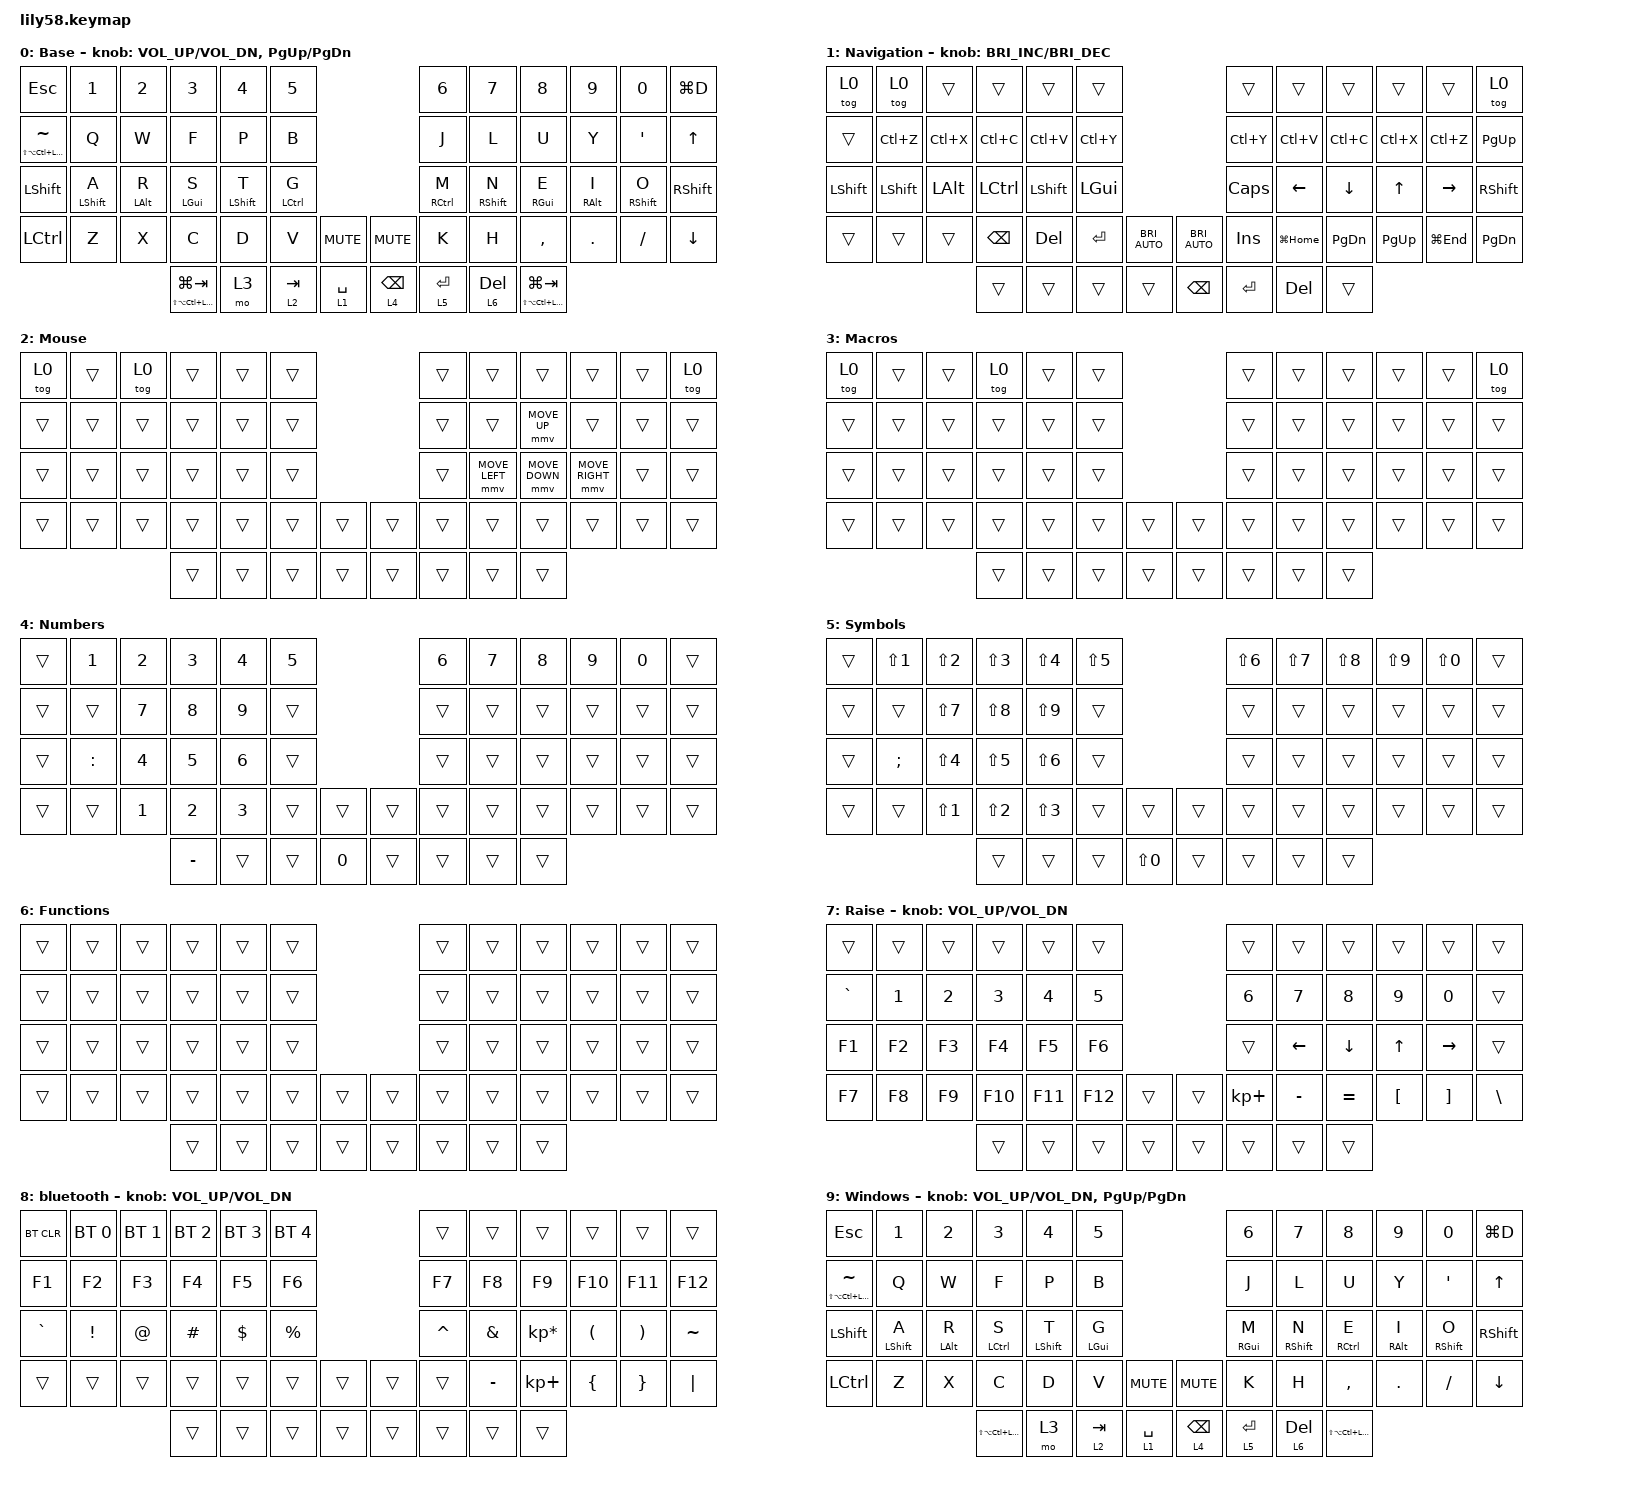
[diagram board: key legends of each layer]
/*
 * Copyright (c) 2020 The ZMK Contributors
 *
 * SPDX-License-Identifier: MIT
 */

#include <behaviors.dtsi>
#include <dt-bindings/zmk/bt.h>
#include <dt-bindings/zmk/keys.h>
#include <dt-bindings/zmk/pointing.h>

/ {
    behaviors {
        hrm: hrm {
            compatible = "zmk,behavior-hold-tap";
            label = "HRM";
            bindings = <&kp>, <&kp>;

            #binding-cells = <2>;
            flavor = "tap-preferred";
            tapping-term-ms = <270>;
            require-prior-idle-ms = <200>;
            quick-tap-ms = <0>;
            hold-trigger-on-release;
        };
    };

    keymap {
        compatible = "zmk,keymap";

        default_layer {
            // ------------------------------------------------------------------------------------------------------------
            // |  ESC  |  1  |  2  |  3   |  4   |  5   |                   |  6   |  7    |  8    |  9   |   0   |   `   |
            // |  TAB  |  Q  |  W  |  E   |  R   |  T   |                   |  Y   |  U    |  I    |  O   |   P   |   -   |
            // |  CTRL |  A  |  S  |  D   |  F   |  G   |                   |  H   |  J    |  K    |  L   |   ;   |   '   |
            // | SHIFT |  Z  |  X  |  C   |  V   |  B   |   "["  |  |  "]"  |  N   |  M    |  ,    |  .   |   /   | SHIFT |
            //                     | ALT  | GUI  | LOWER|  SPACE |  | ENTER | RAISE| BSPC  | GUI   |

            display-name = "Base";
            bindings = <
&kp ESC                         &kp N1        &kp N2       &kp N3                            &kp N4         &kp N5                                        &kp N6        &kp N7         &kp N8                            &kp N9       &kp N0        &kp LG(D)
&mt LS(LA(LC(LEFT_GUI))) TILDE  &kp Q         &kp W        &kp F                             &kp P          &kp B                                         &kp J         &kp L          &kp U                             &kp Y        &kp SQT       &kp UP
&kp LSHFT                       &hrm LSHFT A  &hrm LALT R  &hrm LGUI S                       &hrm LSHIFT T  &hrm LCTRL G                                  &hrm RCTRL M  &hrm RSHIFT N  &hrm RGUI E                       &hrm RALT I  &hrm RSHFT O  &kp RSHFT
&kp LCTRL                       &kp Z         &kp X        &kp C                             &kp D          &kp V         &kp C_MUTE     &kp C_MUTE       &kp K         &kp H          &kp COMMA                         &kp DOT      &kp FSLH      &kp DOWN
                                                           &mt LS(LA(LC(LEFT_GUI))) LG(TAB)  &mo 3          &lt 2 TAB     &lt 1 SPACE    &lt 4 BACKSPACE  &lt 5 ENTER   &lt 6 DELETE   &mt LS(LA(LC(LEFT_GUI))) LG(TAB)
            >;

            // sensor-bindings = <&inc_dec_kp C_VOL_UP C_VOL_DN>;

            sensor-bindings =
                <&inc_dec_kp C_VOL_UP C_VOL_DN>,
                <&inc_dec_kp PG_UP PG_DN>;
        };

        nav_layer {
            bindings = <
&tog 0     &tog 0     &trans     &trans     &trans     &trans                                                     &trans      &trans        &trans         &trans       &trans       &tog 0
&trans     &kp LC(Z)  &kp LC(X)  &kp LC(C)  &kp LC(V)  &kp LC(Y)                                                  &kp LC(Y)   &kp LC(V)     &kp LC(C)      &kp LC(X)    &kp LC(Z)    &kp PAGE_UP
&kp LSHFT  &kp LSHFT  &kp LALT   &kp LCTRL  &kp LSHFT  &kp LGUI                                                   &kp CAPS    &kp LEFT      &kp DOWN       &kp UP       &kp RIGHT    &kp RSHIFT
&trans     &trans     &trans     &kp BSPC   &kp DEL    &kp RET    &kp C_BRIGHTNESS_AUTO    &kp C_BRIGHTNESS_AUTO  &kp INSERT  &kp LG(HOME)  &kp PAGE_DOWN  &kp PAGE_UP  &kp LG(END)  &kp PAGE_DOWN
                                 &trans     &trans     &trans     &trans                   &kp BSPC               &kp RET     &kp DEL       &trans
            >;

            sensor-bindings = <&inc_dec_kp C_BRIGHTNESS_INC C_BRIGHTNESS_DEC>;
            label = "Navigation";
        };

        mouse_layer {
            bindings = <
&tog 0  &trans  &tog 0  &trans  &trans  &trans                    &trans  &trans          &trans          &trans           &trans  &tog 0
&trans  &trans  &trans  &trans  &trans  &trans                    &trans  &trans          &mmv MOVE_UP    &trans           &trans  &trans
&trans  &trans  &trans  &trans  &trans  &trans                    &trans  &mmv MOVE_LEFT  &mmv MOVE_DOWN  &mmv MOVE_RIGHT  &trans  &trans
&trans  &trans  &trans  &trans  &trans  &trans  &trans    &trans  &trans  &trans          &trans          &trans           &trans  &trans
                        &trans  &trans  &trans  &trans    &trans  &trans  &trans          &trans
            >;

            label = "Mouse";
        };

        macro_layer {
            bindings = <
&tog 0  &trans  &trans  &tog 0  &trans  &trans                    &trans  &trans  &trans  &trans  &trans  &tog 0
&trans  &trans  &trans  &trans  &trans  &trans                    &trans  &trans  &trans  &trans  &trans  &trans
&trans  &trans  &trans  &trans  &trans  &trans                    &trans  &trans  &trans  &trans  &trans  &trans
&trans  &trans  &trans  &trans  &trans  &trans  &trans    &trans  &trans  &trans  &trans  &trans  &trans  &trans
                        &trans  &trans  &trans  &trans    &trans  &trans  &trans  &trans
            >;

            label = "Macros";
        };

        num_layer {
            bindings = <
&trans  &kp N1     &kp N2  &kp N3     &kp N4  &kp N5                    &kp N6  &kp N7  &kp N8  &kp N9  &kp N0  &trans
&trans  &trans     &kp N7  &kp N8     &kp N9  &trans                    &trans  &trans  &trans  &trans  &trans  &trans
&trans  &kp COLON  &kp N4  &kp N5     &kp N6  &trans                    &trans  &trans  &trans  &trans  &trans  &trans
&trans  &trans     &kp N1  &kp N2     &kp N3  &trans  &trans    &trans  &trans  &trans  &trans  &trans  &trans  &trans
                           &kp MINUS  &trans  &trans  &kp N0    &trans  &trans  &trans  &trans
            >;

            label = "Numbers";
        };

        sym_layer {
            bindings = <
&trans  &kp LS(N1)  &kp LS(N2)  &kp LS(N3)  &kp LS(N4)  &kp LS(N5)                        &kp LS(N6)  &kp LS(N7)  &kp LS(N8)  &kp LS(N9)  &kp LS(N0)  &trans
&trans  &trans      &kp LS(N7)  &kp LS(N8)  &kp LS(N9)  &trans                            &trans      &trans      &trans      &trans      &trans      &trans
&trans  &kp SEMI    &kp LS(N4)  &kp LS(N5)  &kp LS(N6)  &trans                            &trans      &trans      &trans      &trans      &trans      &trans
&trans  &trans      &kp LS(N1)  &kp LS(N2)  &kp LS(N3)  &trans      &trans        &trans  &trans      &trans      &trans      &trans      &trans      &trans
                                &trans      &trans      &trans      &kp LS(N0)    &trans  &trans      &trans      &trans
            >;

            label = "Symbols";
        };

        fun_layer {
            bindings = <
&trans  &trans  &trans  &trans  &trans  &trans                    &trans  &trans  &trans  &trans  &trans  &trans
&trans  &trans  &trans  &trans  &trans  &trans                    &trans  &trans  &trans  &trans  &trans  &trans
&trans  &trans  &trans  &trans  &trans  &trans                    &trans  &trans  &trans  &trans  &trans  &trans
&trans  &trans  &trans  &trans  &trans  &trans  &trans    &trans  &trans  &trans  &trans  &trans  &trans  &trans
                        &trans  &trans  &trans  &trans    &trans  &trans  &trans  &trans
            >;

            label = "Functions";
        };

        raise_layer {
            // ------------------------------------------------------------------------------------------------------------
            // |       |     |     |      |      |      |                   |      |       |       |      |       |       |
            // |   `   |  1  |  2  |  3   |  4   |  5   |                   |  6   |   7   |   8   |  9   |   0   |       |
            // |   F1  |  F2 |  F3 |  F4  |  F5  |  F6  |                   |      |   <-  |   v   |  ^   |  ->   |       |
            // |   F7  |  F8 |  F9 |  F10 |  F11 |  F12 |        |  |       |  +   |   -   |   =   |  [   |   ]   |   \   |
            //                     |      |      |      |        |  |       |      |       |       |

            display-name = "Raise";
            bindings = <
&trans     &trans  &trans  &trans   &trans   &trans                     &trans       &trans     &trans     &trans    &trans     &trans
&kp GRAVE  &kp N1  &kp N2  &kp N3   &kp N4   &kp N5                     &kp N6       &kp N7     &kp N8     &kp N9    &kp N0     &trans
&kp F1     &kp F2  &kp F3  &kp F4   &kp F5   &kp F6                     &trans       &kp LEFT   &kp DOWN   &kp UP    &kp RIGHT  &trans
&kp F7     &kp F8  &kp F9  &kp F10  &kp F11  &kp F12  &trans    &trans  &kp KP_PLUS  &kp MINUS  &kp EQUAL  &kp LBKT  &kp RBKT   &kp BSLH
                           &trans   &trans   &trans   &trans    &trans  &trans       &trans     &trans
            >;

            sensor-bindings = <&inc_dec_kp C_VOL_UP C_VOL_DN>;
        };

        bt_layer {
            // ------------------------------------------------------------------------------------------------------------
            // | BTCLR | BT1 | BT2 |  BT3 |  BT4 |  BT5 |                   |      |       |       |      |       |       |
            // |  F1   |  F2 |  F3 |  F4  |  F5  |  F6  |                   |  F7  |  F8   |  F9   |  F10 |  F11  |  F12  |
            // |   `   |  !  |  @  |  #   |  $   |  %   |                   |  ^   |  &    |  *    |  (   |   )   |   ~   |
            // |       |     |     |      |      |      |        |  |       |      |  _    |  +    |  {   |   }   |  "|"  |
            //                     |      |      |      |        |  |       |      |       |       |

            display-name = "bluetooth";
            bindings = <
&bt BT_CLR  &bt BT_SEL 0  &bt BT_SEL 1  &bt BT_SEL 2  &bt BT_SEL 3  &bt BT_SEL 4                    &trans     &trans     &trans           &trans    &trans    &trans
&kp F1      &kp F2        &kp F3        &kp F4        &kp F5        &kp F6                          &kp F7     &kp F8     &kp F9           &kp F10   &kp F11   &kp F12
&kp GRAVE   &kp EXCL      &kp AT        &kp HASH      &kp DOLLAR    &kp PRCNT                       &kp CARET  &kp AMPS   &kp KP_MULTIPLY  &kp LPAR  &kp RPAR  &kp TILDE
&trans      &trans        &trans        &trans        &trans        &trans        &trans    &trans  &trans     &kp MINUS  &kp KP_PLUS      &kp LBRC  &kp RBRC  &kp PIPE
                                        &trans        &trans        &trans        &trans    &trans  &trans     &trans     &trans
            >;

            sensor-bindings = <&inc_dec_kp C_VOL_UP C_VOL_DN>;
        };

        windows_layer {
            display-name = "Windows";
            bindings = <
&kp ESC                         &kp N1        &kp N2       &kp N3                    &kp N4         &kp N5                                       &kp N6       &kp N7         &kp N8                    &kp N9       &kp N0        &kp LG(D)
&mt LS(LA(LC(LEFT_GUI))) TILDE  &kp Q         &kp W        &kp F                     &kp P          &kp B                                        &kp J        &kp L          &kp U                     &kp Y        &kp SQT       &kp UP
&kp LSHFT                       &hrm LSHFT A  &hrm LALT R  &hrm LCTRL S              &hrm LSHIFT T  &hrm LGUI G                                  &hrm RGUI M  &hrm RSHIFT N  &hrm RCTRL E              &hrm RALT I  &hrm RSHFT O  &kp RSHFT
&kp LCTRL                       &kp Z         &kp X        &kp C                     &kp D          &kp V        &kp C_MUTE     &kp C_MUTE       &kp K        &kp H          &kp COMMA                 &kp DOT      &kp FSLH      &kp DOWN
                                                           &kp LS(LA(LC(LEFT_GUI)))  &mo 3          &lt 2 TAB    &lt 1 SPACE    &lt 4 BACKSPACE  &lt 5 ENTER  &lt 6 DELETE   &kp LS(LA(LC(LEFT_GUI)))
            >;

            sensor-bindings =
                <&inc_dec_kp C_VOL_UP C_VOL_DN>,
                <&inc_dec_kp PG_UP PG_DN>;
        };
    };
};
